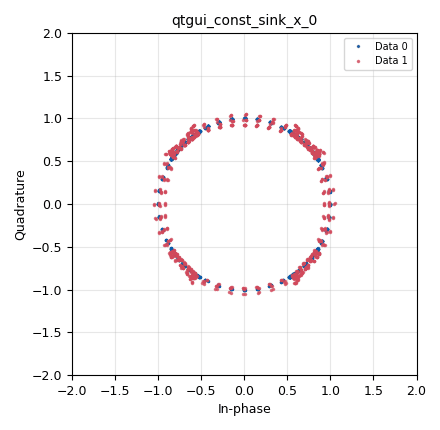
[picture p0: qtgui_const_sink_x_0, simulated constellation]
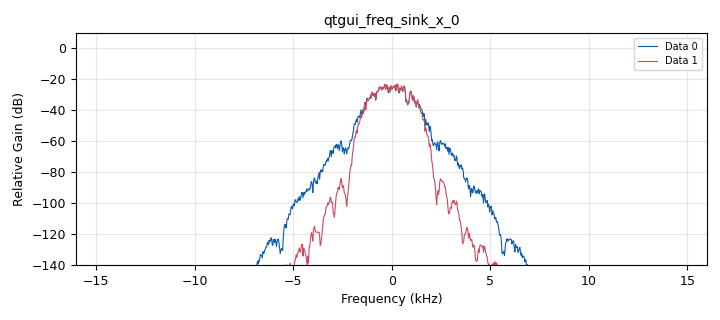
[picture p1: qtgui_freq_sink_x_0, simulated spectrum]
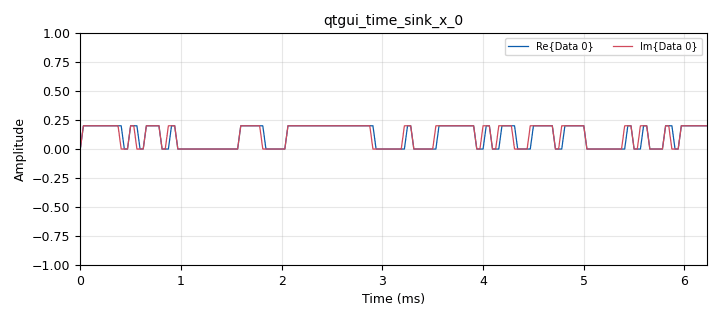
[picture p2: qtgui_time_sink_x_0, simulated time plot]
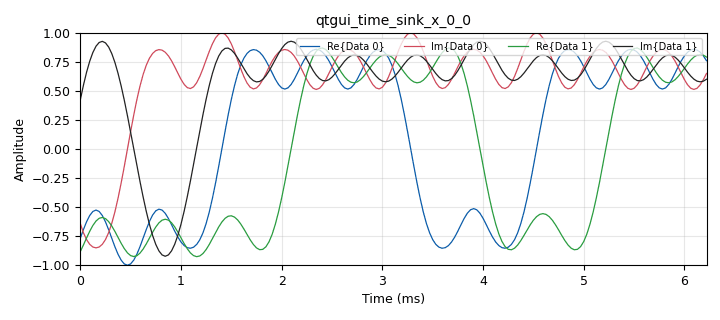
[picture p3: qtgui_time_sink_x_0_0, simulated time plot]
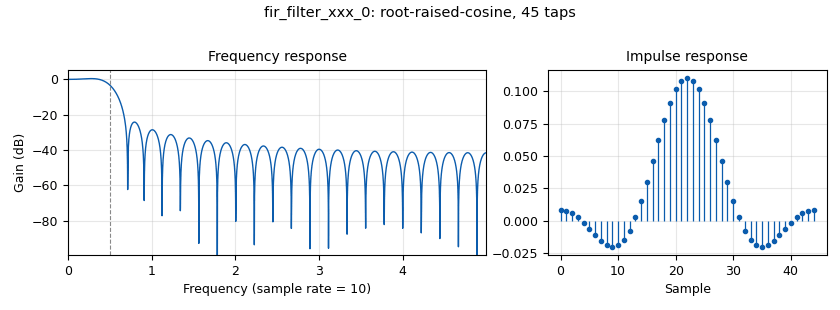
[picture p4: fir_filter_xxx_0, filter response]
options:
  parameters:
    author: Rajas_129
    copyright: '2023200129'
    generate_options: qt_gui
    id: gmsk_wo_channel
    output_language: python
    title: GMSKWithChannel
  states: {}

blocks:
- name: excess_bw
  id: variable
  parameters:
    value: '0.3'
  states: {}
- name: freq_offset
  id: variable_qtgui_range
  parameters:
    label: Frequency Offset
    start: '-0.1'
    step: '0.001'
    stop: '0.1'
    value: '0'
  states: {}
- name: noise_voltage
  id: variable_qtgui_range
  parameters:
    label: Noise_voltage(Ch)
    start: '0'
    step: '0.01'
    stop: '1'
    value: '0'
  states: {}
- name: rrc_taps
  id: variable
  parameters:
    value: firdes.root_raised_cosine(1, sps, 1, excess_bw, 45)
  states: {}
- name: samp_rate
  id: variable
  parameters:
    value: '32000'
  states: {}
- name: sps
  id: variable
  parameters:
    value: '10'
  states: {}
- name: time_offset
  id: variable_qtgui_range
  parameters:
    label: Timing Offset (Channel)
    start: '0.999'
    step: '0.0001'
    stop: '1.001'
    value: '1'
  states: {}
- name: analog_random_source_x_0
  id: analog_random_source_x
  parameters:
    max: '256'
    min: '0'
    num_samps: '1024'
    repeat: 'True'
    type: byte
  states: {}
- name: blocks_interleaved_char_to_complex_0
  id: blocks_interleaved_char_to_complex
  parameters:
    scale_factor: '5'
    vector_input: 'False'
  states: {}
- name: blocks_throttle_0
  id: blocks_throttle
  parameters:
    samples_per_second: samp_rate
    type: complex
  states: {}
- name: blocks_throttle_0_0
  id: blocks_throttle
  parameters:
    samples_per_second: samp_rate
    type: complex
  states: {}
- name: channels_channel_model_0
  id: channels_channel_model
  parameters:
    epsilon: '1.0'
    freq_offset: '0.0'
    noise_voltage: '0.0'
    seed: '0'
    taps: '1.0'
  states: {}
- name: digital_gmsk_demod_0
  id: digital_gmsk_demod
  parameters:
    freq_error: '0.0'
    gain_mu: '0.175'
    mu: '0.5'
    omega_relative_limit: '0.005'
    samples_per_symbol: '2'
  states: {}
- name: digital_gmsk_mod_0
  id: digital_gmsk_mod
  parameters:
    bt: '0.3'
    samples_per_symbol: '10'
  states: {}
- name: fir_filter_xxx_0
  id: fir_filter_xxx
  parameters:
    decim: '1'
    taps: rrc_taps
    type: ccc
  states: {}
- name: qtgui_const_sink_x_0
  id: qtgui_const_sink_x
  parameters:
    nconnections: '2'
    size: '1024'
    type: complex
  states: {}
- name: qtgui_freq_sink_x_0
  id: qtgui_freq_sink_x
  parameters:
    average: '0.2'
    bw: '32000'
    fc: '0'
    fftsize: '1024'
    nconnections: '2'
    type: complex
  states: {}
- name: qtgui_time_sink_x_0
  id: qtgui_time_sink_x
  parameters:
    size: '200'
    srate: '32000'
    type: complex
  states: {}
- name: qtgui_time_sink_x_0_0
  id: qtgui_time_sink_x
  parameters:
    nconnections: '2'
    size: '200'
    srate: '32000'
    type: complex
  states: {}
- name: virtual_sink_0
  id: virtual_sink
  parameters:
    stream_id: mod_out
  states: {}
- name: virtual_source_0
  id: virtual_source
  parameters:
    stream_id: mod_out
  states: {}

connections:
- [analog_random_source_x_0, '0', digital_gmsk_mod_0, '0']
- [blocks_interleaved_char_to_complex_0, '0', blocks_throttle_0_0, '0']
- [blocks_throttle_0, '0', fir_filter_xxx_0, '0']
- [blocks_throttle_0, '0', qtgui_const_sink_x_0, '0']
- [blocks_throttle_0, '0', qtgui_freq_sink_x_0, '0']
- [blocks_throttle_0, '0', qtgui_time_sink_x_0_0, '0']
- [blocks_throttle_0_0, '0', qtgui_time_sink_x_0, '0']
- [channels_channel_model_0, '0', blocks_throttle_0, '0']
- [channels_channel_model_0, '0', virtual_sink_0, '0']
- [digital_gmsk_demod_0, '0', blocks_interleaved_char_to_complex_0, '0']
- [digital_gmsk_mod_0, '0', channels_channel_model_0, '0']
- [fir_filter_xxx_0, '0', qtgui_const_sink_x_0, '1']
- [fir_filter_xxx_0, '0', qtgui_freq_sink_x_0, '1']
- [fir_filter_xxx_0, '0', qtgui_time_sink_x_0_0, '1']
- [virtual_source_0, '0', digital_gmsk_demod_0, '0']

metadata:
  file_format: 1
  grc_version: 3.10.12.0
